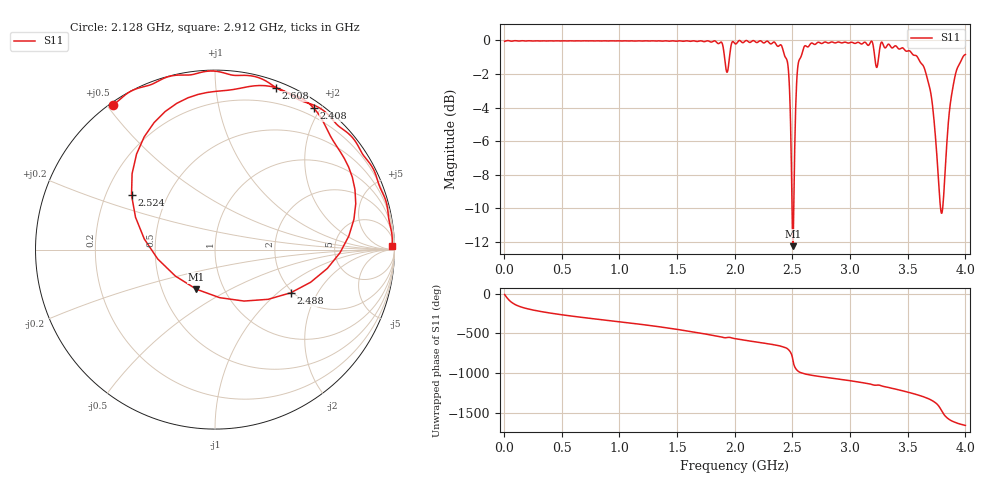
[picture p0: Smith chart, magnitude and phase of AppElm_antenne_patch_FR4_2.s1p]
! TOUCHSTONE file generated by CST MICROWAVE STUDIO
! Date and time: Tue Jun 14 11:50:58 2022
! Project name: AppElm_antenne_patch_FR4.cst
! Parameters = {L=36; W=58.5; e=0.035; h=1.6; lambda=0.190476; ls=120; w0=2.54; w1=0.847; ws=120; y0=18; y1=23.8}
! Header version: 2018
! Port assignment regex: !\s*Touchstone port\s*([0-9]+)\s*=\s*(CST MWS port|CST DS port)\s*([0-9]+|Zmin|Zmax)\s*\(\"(.*)\"\)(\s*mode\s*([0-9]+))?.*
! Touchstone port assignment:
! Touchstone port 1 = CST MWS port 1 ("")
# GHz S MA R 50
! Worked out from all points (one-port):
!   1000 points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, 4 MHz to 4 GHz, reference 50 ohm
!   lowest |S11| = -12.3 dB at 2.504 GHz (marker M1), VSWR 1.65, Z = 37.1 - j17.4 ohm
!   |S11| at or under -10 dB: 2.497 GHz to 2.512 GHz (14.74 MHz wide, 0.589 % of centre); 3.78475 GHz to 3.802731 GHz (17.98 MHz wide, 0.474 % of centre)
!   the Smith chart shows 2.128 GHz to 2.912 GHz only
!   S11 on the Smith chart (normalised r, x): 2.128 GHz: 0.01, +0.52; 2.408 GHz: 0.09, +1.91; 2.488 GHz: 1.95, -1.23; 2.524 GHz: 0.31, +0.27; 2.608 GHz: 0.06, +1.45; 2.912 GHz: 41, +67
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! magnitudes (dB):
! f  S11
! 4 MHz  0.0
! 504 MHz  0.0
! 1.004 GHz  0.0
! 1.504 GHz  0.0
! 1.876 GHz  -0.1
! 1.932 GHz  -1.9
! 2.004 GHz  -0.2
! 2.128 GHz  -0.1
! 2.408 GHz  -0.3
! 2.46 GHz  -1.4
! 2.472 GHz  -2.5
! 2.488 GHz  -6.3
! 2.504 GHz  -12.3
! 2.524 GHz  -5.1
! 2.536 GHz  -2.6
! 2.552 GHz  -1.3
! 2.608 GHz  -0.3
! 2.912 GHz  -0.1
! 3.004 GHz  -0.1
! 3.184 GHz  0.0
! 3.232 GHz  -1.6
! 3.28 GHz  -0.1
! 3.504 GHz  -0.6
! 3.688 GHz  -2.7
! 3.792 GHz  -10.3
! 3.808 GHz  -9.6
! 3.884 GHz  -3.1
! 4 GHz  -0.8
